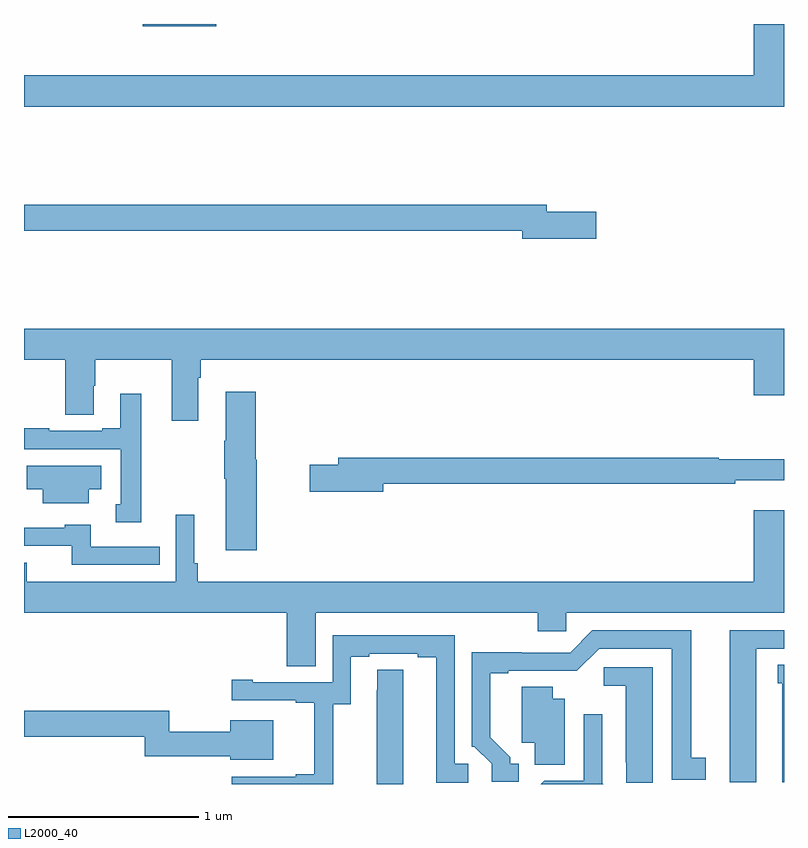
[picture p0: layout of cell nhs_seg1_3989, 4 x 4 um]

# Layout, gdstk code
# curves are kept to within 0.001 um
import gdstk
lib = gdstk.Library(unit=1e-6, precision=1e-09)
def R(c, l, rs):  # rectangles x0, y0, x1, y1
    for r in rs: c.add(gdstk.rectangle(r[:2], r[2:], *l))
def P(c, l, *ps):  # polygons
    for p in ps: c.add(gdstk.Polygon(p, *l))
L2000_40 = (2000, 40)

nhs_seg1_3989 = lib.new_cell('nhs_seg1_3989')
R(nhs_seg1_3989, L2000_40, [(329.624,520.187,330.013,520.199)])
P(nhs_seg1_3989, L2000_40, [(333,520.199),(332.84,520.199),(332.84,519.928),(329,519.928),(329,519.764),(333,519.764)],
  [(332.011,519.212),(331.75,519.212),(331.75,519.248),(329,519.248),(329,519.112),(331.622,519.112),(331.622,519.07),(332.011,519.07)],
  [(329.917,518.336),(329.93,518.336),(329.93,518.432),(332.84,518.432),(332.84,518.244),(333,518.244),(333,518.596),(329,518.596),(329,518.432),(329.216,518.432),(329.216,518.143),(329.368,518.143),(329.368,518.294),(329.376,518.294),(329.376,518.432),(329.777,518.432),(329.777,518.112),(329.917,518.112)],
  [(330.226,517.905),(330.221,517.905),(330.221,518.263),(330.062,518.263),(330.062,518.005),(330.055,518.005),(330.055,517.805),(330.062,517.805),(330.062,517.428),(330.226,517.428)],
  [(329.617,518.254),(329.507,518.254),(329.507,518.071),(329.411,518.071),(329.411,518.058),(329.132,518.058),(329.132,518.071),(329,518.071),(329,517.962),(329.508,517.962),(329.508,517.671),(329.483,517.671),(329.483,517.577),(329.617,517.577)],
  [(330.892,517.78),(332.744,517.78),(332.744,517.799),(333,517.799),(333,517.909),(332.657,517.909),(332.657,517.916),(330.653,517.916),(330.653,517.88),(330.504,517.88),(330.504,517.738),(330.892,517.738)],
  [(329.341,517.751),(329.407,517.751),(329.407,517.873),(329.014,517.873),(329.014,517.751),(329.099,517.751),(329.099,517.676),(329.341,517.676)],
  [(330.535,517.1),(331.703,517.1),(331.703,517.002),(331.854,517.002),(331.854,517.1),(333,517.1),(333,517.639),(332.84,517.639),(332.84,517.264),(329.915,517.264),(329.915,517.36),(329.896,517.36),(329.896,517.615),(329.799,517.615),(329.799,517.264),(329.014,517.264),(329.014,517.363),(329,517.363),(329,517.1),(330.383,517.1),(330.383,516.82),(330.535,516.82)],
  [(329.714,517.449),(329.35,517.449),(329.35,517.564),(329.214,517.564),(329.214,517.548),(329,517.548),(329,517.452),(329.251,517.452),(329.251,517.353),(329.714,517.353)],
  [(332.854,516.912),(333,516.912),(333,517.008),(332.714,517.008),(332.714,516.207),(332.854,516.207)],
  [(331.603,516.306),(331.558,516.306),(331.558,516.341),(331.453,516.446),(331.453,516.783),(331.549,516.783),(331.549,516.795),(331.91,516.794),(332.028,516.912),(332.408,516.912),(332.408,516.222),(332.587,516.222),(332.587,516.338),(332.512,516.338),(332.512,517.008),(331.992,517.008),(331.875,516.891),(331.619,516.891),(331.619,516.893),(331.356,516.893),(331.356,516.396),(331.371,516.396),(331.461,516.306),(331.461,516.21),(331.603,516.21)],
  [(330.627,516.619),(330.721,516.619),(330.721,516.87),(330.817,516.87),(330.817,516.885),(331.073,516.885),(331.073,516.865),(331.169,516.865),(331.169,516.205),(331.339,516.205),(331.339,516.306),(331.266,516.306),(331.266,516.981),(330.624,516.981),(330.624,516.735),(330.205,516.735),(330.205,516.748),(330.093,516.748),(330.093,516.639),(330.431,516.639),(330.431,516.627),(330.527,516.627),(330.527,516.25),(330.431,516.25),(330.431,516.237),(330.093,516.237),(330.093,516.199),(330.627,516.199)],
  [(333,516.827),(332.966,516.827),(332.966,516.729),(332.99,516.729),(332.99,516.207),(333,516.207)],
  [(332.308,516.813),(332.052,516.813),(332.052,516.716),(332.168,516.716),(332.168,516.313),(332.169,516.313),(332.169,516.205),(332.308,516.205)],
  [(330.997,516.8),(330.858,516.8),(330.858,516.692),(330.857,516.692),(330.857,516.199),(330.997,516.199)],
  [(331.846,516.649),(331.783,516.649),(331.783,516.71),(331.619,516.71),(331.619,516.416),(331.688,516.416),(331.688,516.301),(331.846,516.301)],
  [(330.313,516.535),(330.086,516.535),(330.086,516.473),(329.764,516.473),(329.764,516.584),(329,516.584),(329,516.448),(329.635,516.448),(329.635,516.345),(330.086,516.345),(330.086,516.326),(330.313,516.326)],
  [(332.043,516.204),(332.043,516.565),(331.947,516.565),(331.947,516.216),(331.737,516.216),(331.72,516.199),(332.048,516.199)])

lib.write_gds('nhs_seg1_3989.gds')
